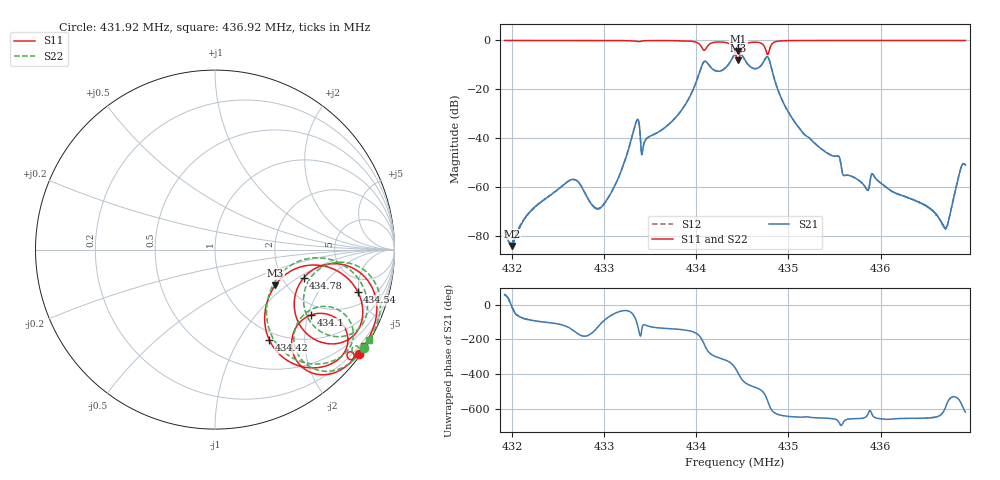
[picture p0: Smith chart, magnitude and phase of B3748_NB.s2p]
! Matrix data file written by TouchstoneData, EPCOS AG
! FILENAME: "LU52A_NB.s2p"
! COMMENT: "PINNING 1/4; PORTEX 1=93ps; 2=179.5ps;  2 Fe"
! INFO: nport=2, nfreq=1601
! DATE: "Thu Nov  5 11:06:18 2009"
! USER: "Aleksander Breg"
! port | pin | signal
!  1  |  1  |  input
!  2  |  4  |  output
# MHZ S MA R 50
! freq  magS11 angS11  magS21 angS21  magS12 angS12  magS22 angS22
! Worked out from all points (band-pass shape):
!   1601 points, 431.92 MHz to 436.92 MHz, reference 50 ohm
!   highest |S21| = -4.49 dB at 434.46 MHz (marker M1); lowest = -84.2 dB at 432 MHz (marker M2)
!   |S21| within 3 dB of the highest: 434.3894 MHz to 434.5172 MHz (127.8 kHz wide, 0.0294 % of centre); 434.7496 MHz to 434.7862 MHz (36.64 kHz wide, 0.00843 % of centre)
!   lowest |S11| = -8.2 dB at 434.45 MHz (marker M3), VSWR 2.28, Z = 88 - j41.4 ohm
!   |S11| at or under -10 dB: nowhere
!   |S22| runs from -8.4 to 0.0 dB; largest |S21 - S12| = 0.0028
!   S11 on the Smith chart (normalised r, x): 431.92 MHz: 0.06, -3.09; 434.1 MHz: 1.66, -2.08; 434.42 MHz: 0.89, -1.36; 434.54 MHz: 3.22, -4.83; 434.78 MHz: 2.60, -1.12; 436.92 MHz: 0.08, -3.38
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431.92  0.9886 -35.9  0.0001257 57.4  0.0001296 56.7  0.9957 -33.3
431.9981  0.9884 -36.0  6.137e-05 -10.1  6.494e-05 -10.4  0.9959 -33.4
432.6012  0.9875 -36.8  0.001251 -128.6  0.001261 -128.5  0.9948 -34.1
432.7544  0.9859 -37.0  0.001001 179.6  0.001006 -179.7  0.9936 -34.4
432.9606  0.9856 -37.5  0.0003754 -112.7  0.0003723 -111.8  0.9936 -34.9
433.3512  0.9509 -39.1  0.02201 -98.5  0.0221 -98.2  0.9559 -36.7
433.42  0.9693 -37.0  0.005997 -119.5  0.006022 -118.9  0.9745 -34.4
433.5888  0.983 -39.2  0.01316 -134.6  0.01321 -134.4  0.9902 -36.6
434.0981  0.6462 -34.3  0.3705 116.6  0.3713 116.8  0.6372 -31.1
434.2388  0.9218 -39.1  0.2308 53.9  0.2319 54.1  0.9279 -36.2
434.4169  0.5873 -59.0  0.519 -2.1  0.5202 -2.0  0.5899 -56.8
434.42  0.5636 -58.6  0.5296 -4.6  0.5306 -4.5  0.5659 -56.5
434.4544  0.39 -30.8  0.5956 -35.5  0.5962 -35.4  0.3781 -28.1
434.4575  0.3945 -26.6  0.5963 -38.6  0.5965 -38.5  0.3829 -23.5
434.5356  0.8289 -16.5  0.3704 -92.8  0.3713 -92.4  0.8338 -12.8
434.7138  0.8453 -38.4  0.3228 -138.8  0.324 -138.6  0.8574 -34.4
434.7794  0.518 -17.7  0.4468 155.7  0.4469 155.9  0.557 -15.8
434.9731  0.9786 -24.1  0.04116 76.5  0.04123 77.0  0.9863 -21.7
435.2544  0.9873 -28.9  0.008817 68.4  0.008837 68.7  0.9944 -26.3
436.0888  0.9892 -32.0  0.0008823 58.2  0.0008911 58.4  0.9964 -29.4
436.7013  0.9891 -32.9  0.0001396 122.3  0.0001418 123.4  0.9965 -30.2
436.92  0.9874 -33.0  0.002781 100.0  0.002798 100.3  0.9946 -30.3
